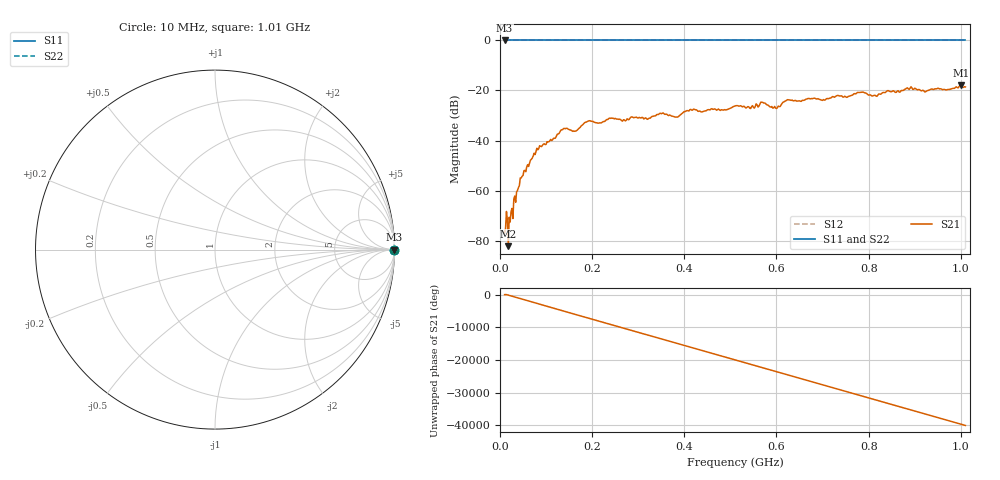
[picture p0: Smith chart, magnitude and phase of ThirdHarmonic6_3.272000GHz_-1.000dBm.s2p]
! 8/17/2025 10:07:39 AM
! C:\ANRITSUVNA\TEMP\TEMP.S2P
! CHANNEL.1
! TR.MEASUREMENT
! RAW.DATA
! RF.CORRECTION.OFF
! AVERAGING.OFF
! IF.BANDWIDTH: 5KHZ
! SWEEPTYPE:  FREQ.SWEEP(Linear)
! Reference Plane Port Info
! PORT:  PORT1  PORT2
! DISTANCE:  0  m  0  m
! TIME:  0  s  0  s
! PHASE.OFFSET:  0  deg.  0  deg.
! LOSS:  0  dB  0  dB
! REF.LOSS:  0  dB  0  dB
! REF.FREQ:  0  Hz  0  Hz
! Power Info
! POWER:  -20  dBm  -20  dBm
! EFF.POWER:  -20  dBm  -20  dBm
! SOURCE.ATTEN:  0  dB  0  dB
! TEST.ATTEN:  0  dB  0  dB
# GHZ S RI R 50.0
! FREQ.GHZ  S11RE  S11IM  S21RE  S21IM  S12RE  S12IM  S22RE  S22IM
!; PortSelection: Port_12
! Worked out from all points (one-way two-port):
!   501 points, 10 MHz to 1.01 GHz, reference 50 ohm
!   highest |S21| = -17.96 dB at 1 GHz (marker M1); lowest = -82.2 dB at 18 MHz (marker M2)
!   lowest |S11| = 0.0 dB at 10 MHz (marker M3)
!   |S11| at or under -10 dB: nowhere
!   |S22| runs from 0.0 to 0.0 dB; largest |S21 - S12| = 1.1
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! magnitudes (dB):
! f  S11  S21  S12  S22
! 10 MHz  0.0  -77.0  0.0  0.0
! 18 MHz  0.0  -82.2  0.0  0.0
! 22 MHz  0.0  -72.6  0.0  0.0
! 34 MHz  0.0  -64.7  0.0  0.0
! 48 MHz  0.0  -54.3  0.0  0.0
! 82 MHz  0.0  -43.7  0.0  0.0
! 136 MHz  0.0  -35.7  0.0  0.0
! 162 MHz  0.0  -36.3  0.0  0.0
! 178 MHz  0.0  -33.9  0.0  0.0
! 344 MHz  0.0  -29.6  0.0  0.0
! 384 MHz  0.0  -30.6  0.0  0.0
! 416 MHz  0.0  -27.9  0.0  0.0
! 510 MHz  0.0  -26.2  0.0  0.0
! 548 MHz  0.0  -26.1  0.0  0.0
! 570 MHz  0.0  -24.7  0.0  0.0
! 596 MHz  0.0  -26.4  0.0  0.0
! 624 MHz  0.0  -23.7  0.0  0.0
! 678 MHz  0.0  -23.3  0.0  0.0
! 814 MHz  0.0  -21.9  0.0  0.0
! 844 MHz  0.0  -20.2  0.0  0.0
! 1 GHz  0.0  -18.0  0.0  0.0
! 1.01 GHz  0.0  -18.6  0.0  0.0
